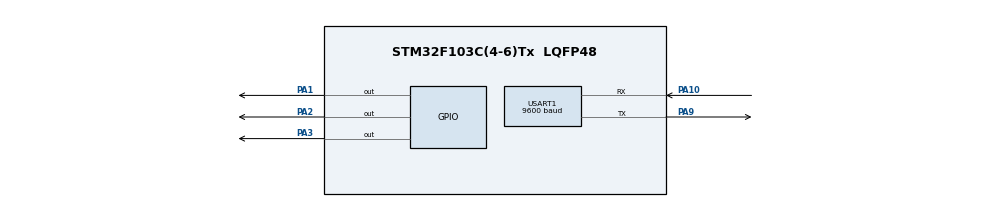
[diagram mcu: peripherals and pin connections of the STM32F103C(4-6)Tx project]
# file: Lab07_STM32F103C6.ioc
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Mcu.Family=STM32F1
Mcu.Name=STM32F103C(4-6)Tx
Mcu.Package=LQFP48
NVIC.PriorityGroup=NVIC_PRIORITYGROUP_4
NVIC.USART1_IRQn=true\:0\:0\:false\:false\:true\:true\:true
PA1.Signal=GPIO_Output
PA10.Mode=Asynchronous
PA10.Signal=USART1_RX
PA2.Signal=GPIO_Output
PA3.Signal=GPIO_Output
PA9.Mode=Asynchronous
PA9.Signal=USART1_TX
ProjectManager.HeapSize=0x200
ProjectManager.StackSize=0x400
ProjectManager.TargetToolchain=STM32CubeIDE
RCC.APB1Freq_Value=8000000
RCC.APB2Freq_Value=8000000
USART1.BaudRate=9600
USART1.VirtualMode=VM_ASYNC
VP_SYS_VS_ND.Mode=No_Debug
board=custom

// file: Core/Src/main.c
/* USER CODE BEGIN Header */
/**
  ******************************************************************************
  * @file           : main.c
  * @brief          : Main program body
  ******************************************************************************
  * @attention
  *
  * <h2><center>&copy; Copyright (c) 2021 STMicroelectronics.
  * All rights reserved.</center></h2>
  *
  * This software component is licensed by ST under BSD 3-Clause license,
  * the "License"; You may not use this file except in compliance with the
  * License. You may obtain a copy of the License at:
  *                        opensource.org/licenses/BSD-3-Clause
  *
  ******************************************************************************
  */
/* USER CODE END Header */
#include "main.h"

/* USER CODE BEGIN Includes */
#include "string.h"
#include "stdio.h"
/* USER CODE END Includes */

UART_HandleTypeDef huart1;

void SystemClock_Config(void);
static void MX_GPIO_Init(void);
static void MX_USART1_UART_Init(void);

int main(void)
{

  /* MCU Configuration--------------------------------------------------------*/

  /* Reset of all peripherals, Initializes the Flash interface and the Systick. */
  HAL_Init();

  /* Configure the system clock */
  SystemClock_Config();

  /* Initialize all configured peripherals */
  MX_GPIO_Init();
  MX_USART1_UART_Init();
  /* USER CODE BEGIN 2 */
  uint32_t SIZE_ONE_PAGE = 0x400; // розмір сторінки 1 Кб, або 1024 байта
  uint32_t ADDR_FLASH_PAGE = 0x08000000 + 31 * SIZE_ONE_PAGE; // адреса 64 сторінки 0x0800FC00

  size_t SIZE_uint32 = sizeof (uint32_t); // 32 біта це 4 байти
  // в одну сторінку розміром 1Кб можна записати 1024/4=256 змінних розміром 4 байти

  uint32_t val_000 = 0x01234567;
  uint32_t val_004 = 0x89ABCDEF;
  uint32_t val_00C = 0x01020304;
  uint32_t val_3FC = 0x0000FFFF; //1024-4=1020 == 0x400-0x004=0x3FC
  char word[9] = {'S','K','O','P','I','N','S','E','V'};

  HAL_UART_Transmit(&huart1, (uint8_t*)"\n\n\r!!!Erase page 64!!!\n\r", sizeof ("\n\n\r!!!Erase page 64!!!\n\r"), 100);
  Flash_Erase_One_Page (ADDR_FLASH_PAGE); // очищення 64 сторінки

  HAL_UART_Transmit (&huart1, (uint8_t*)"\n!!!Write!!!\n\r", sizeof ("\n!!!Write!!!\n\r"), 100);
  // запис значень на початку і в кінці 127 сторінки
  Flash_Write_uint32 (ADDR_FLASH_PAGE + 0 * SIZE_uint32, val_000);
  Flash_Write_uint32 (ADDR_FLASH_PAGE + 1 * SIZE_uint32, val_004);
  Flash_Write_uint32 (ADDR_FLASH_PAGE + 3 * SIZE_uint32, val_00C);
  Flash_Write_uint32 (ADDR_FLASH_PAGE + 255 * SIZE_uint32, val_3FC);

  HAL_UART_Transmit (&huart1, (uint8_t*)"\n!!!Erase page 63!!!\n\r", sizeof ("\n!!!Erase page 63!!!\n\r"), 100);
  Flash_Erase_One_Page (ADDR_FLASH_PAGE - SIZE_ONE_PAGE); // очищення 63 сторінки

  HAL_UART_Transmit (&huart1, (uint8_t*)"\n!!!Write!!!\n\r", sizeof ("\n!!!Write!!!\n\r"), 100);
  // запис значень на початку і в кінці 126 сторінки

  Flash_Write_uint32 (ADDR_FLASH_PAGE - SIZE_ONE_PAGE + 0x004, val_004);
  Flash_Write_uint32 (ADDR_FLASH_PAGE - SIZE_ONE_PAGE + 0x00C, val_00C);
  Flash_Write_uint32 (ADDR_FLASH_PAGE - SIZE_ONE_PAGE + 0x3FC, val_3FC);

  HAL_UART_Transmit (&huart1, (uint8_t*)"\n!!!Read!!!\n\r", sizeof ("\n!!!Read!!!\n\r"), 100);

  HAL_UART_Transmit (&huart1, (uint8_t*)"\n!!!Write64!!!\n\r", sizeof ("\n!!!Write64!!!\n\r"), 100);
  Flash_Write_uint64 (ADDR_FLASH_PAGE - SIZE_ONE_PAGE + 0x000, 1844674407370955161);
  Flash_Write_uint8 (0x08007800, word);
  Flash_Read_uint8 (0x08007800, word);
  HAL_Delay (4000);
  /* USER CODE END 2 */

  /* Infinite loop */
  while (1)
  {

  }
}

void SystemClock_Config(void)
{
  RCC_OscInitTypeDef RCC_OscInitStruct = {0};
  RCC_ClkInitTypeDef RCC_ClkInitStruct = {0};

  /** Initializes the RCC Oscillators according to the specified parameters
  * in the RCC_OscInitTypeDef structure.
  */
  RCC_OscInitStruct.OscillatorType = RCC_OSCILLATORTYPE_HSI;
  RCC_OscInitStruct.HSIState = RCC_HSI_ON;
  RCC_OscInitStruct.HSICalibrationValue = RCC_HSICALIBRATION_DEFAULT;
  RCC_OscInitStruct.PLL.PLLState = RCC_PLL_NONE;
  if (HAL_RCC_OscConfig(&RCC_OscInitStruct) != HAL_OK)
  {
    Error_Handler();
  }
  /** Initializes the CPU, AHB and APB buses clocks
  */
  RCC_ClkInitStruct.ClockType = RCC_CLOCKTYPE_HCLK|RCC_CLOCKTYPE_SYSCLK
                              |RCC_CLOCKTYPE_PCLK1|RCC_CLOCKTYPE_PCLK2;
  RCC_ClkInitStruct.SYSCLKSource = RCC_SYSCLKSOURCE_HSI;
  RCC_ClkInitStruct.AHBCLKDivider = RCC_SYSCLK_DIV1;
  RCC_ClkInitStruct.APB1CLKDivider = RCC_HCLK_DIV1;
  RCC_ClkInitStruct.APB2CLKDivider = RCC_HCLK_DIV1;

  if (HAL_RCC_ClockConfig(&RCC_ClkInitStruct, FLASH_LATENCY_0) != HAL_OK)
  {
    Error_Handler();
  }
}

static void MX_USART1_UART_Init(void)
{

  huart1.Instance = USART1;
  huart1.Init.BaudRate = 9600;
  huart1.Init.WordLength = UART_WORDLENGTH_8B;
  huart1.Init.StopBits = UART_STOPBITS_1;
  huart1.Init.Parity = UART_PARITY_NONE;
  huart1.Init.Mode = UART_MODE_TX_RX;
  huart1.Init.HwFlowCtl = UART_HWCONTROL_NONE;
  huart1.Init.OverSampling = UART_OVERSAMPLING_16;
  if (HAL_UART_Init(&huart1) != HAL_OK)
  {
    Error_Handler();
  }

}

static void MX_GPIO_Init(void)
{

  /* GPIO Ports Clock Enable */
  __HAL_RCC_GPIOA_CLK_ENABLE();

}

/* USER CODE BEGIN 4 */
/////////////Функції запису та читання для 1 байтних масивів/////////////
void Flash_Write_uint8(uint32_t MYADDR, char val[])
{
	char str[64] = { 0, };
	for (int i = 0; i <= strlen (val); i++)
	{
		HAL_FLASH_Unlock(); // розблокування Flash-пам'яті

		if (HAL_FLASH_Program (0x0U, MYADDR, val[i]) != HAL_OK)
		{
			uint32_t er = HAL_FLASH_GetError();
			snprintf (str, 64, "Error Flash_Write(): %lu\n\r", er);
			HAL_UART_Transmit (&huart1, (uint8_t*) str, strlen(str), 100);
			while (1)
			{
			}
		}
		MYADDR+=0x001;

		HAL_FLASH_Lock (); // заблокування Flash-пам'яті
	}
	snprintf (str, 64, "Write phrase bits %s to address 0x%08lX OK\n\r", val, MYADDR);
	HAL_UART_Transmit (&huart1, (uint8_t*) str, strlen (str), 100);
}

void Flash_Read_uint8 (uint32_t MYADDR, char val[])
{
	char str[64] = { 0, };

	for (int i = 0; i <= strlen(val); i++){
	/////////////// Ч�?ТАЄМО Flash-пам'ять ///////////////////
	uint8_t dig8 = *(uint8_t*) MYADDR; // читання числа за його адресою
	str[i] = dig8;
	MYADDR+=0x001;
	}
	HAL_UART_Transmit (&huart1, (uint8_t*)"\n!!!Read phrase!!!\n\r", sizeof ("\n!!!Read phrase!!!\n\r"), 100);
	HAL_UART_Transmit (&huart1, (uint8_t*) str, strlen (str), 100);
}

/////////////Функції запису для 16 біт/////////////

void Flash_Write_uint16 (uint32_t MYADDR, uint16_t val)
{
	char str[64] = { 0, };

	HAL_FLASH_Unlock(); // розблокування Flash-пам'яті

	if (HAL_FLASH_Program (FLASH_TYPEPROGRAM_HALFWORD, MYADDR, val) != HAL_OK)
	{
		uint32_t er = HAL_FLASH_GetError();
		snprintf (str, 64, "Error Flash_Write(): %lu\n\r", er);
		HAL_UART_Transmit (&huart1, (uint8_t*) str, strlen (str), 100);
		while (1)
		{
		}
	}

	snprintf (str, 64, "Write 16 bits (Hex: 0x%08X) to address 0x%08lX OK\n\r", val, MYADDR);
	HAL_UART_Transmit (&huart1, (uint8_t*) str, strlen (str), 100);

	HAL_FLASH_Lock (); // заблокування Flash-пам'яті
}

/////////////Функції запису читання та стирання сторінки для 32 біт/////////////

void Flash_Erase_One_Page(uint32_t MYADDR)
{
	FLASH_EraseInitTypeDef EraseInitStruct; // структура для очищення флеша

	EraseInitStruct.TypeErase = FLASH_TYPEERASE_PAGES; // очищення сторінками, FLASH_TYPEERASE_MASSERASE - очищення всього флеша
	EraseInitStruct.PageAddress = MYADDR; // адреса сторінки;
	EraseInitStruct.NbPages = 1;          // кількість сторінок для очищення

	uint32_t page_error = 0; // змінна в яку запишеться адреса сторінки, при невдалому очищенні

	char str[64] = { 0, };

	HAL_FLASH_Unlock (); // розблокування Flash-пам'яті

	if (HAL_FLASHEx_Erase (&EraseInitStruct, &page_error) != HAL_OK)
	{
		// сталась помилка при очищенні сторінки
		uint32_t er = HAL_FLASH_GetError ();
		snprintf (str, 64, "Error Flash_Erase(): %lu\n\r", er);
		HAL_UART_Transmit (&huart1, (uint8_t*) str, strlen (str), 100);
		while (1)
		{
		}
	}

	// очищення сторінки виконане успішно
	snprintf (str, 64, "Erase Flash from address 0x%08lX to address 0x%08lX OK\n\r", MYADDR, MYADDR+0x400-1);
	HAL_UART_Transmit (&huart1, (uint8_t*) str, strlen(str), 100);

	HAL_FLASH_Lock (); // заблокування Flash-пам'яті
}

void Flash_Write_uint32(uint32_t MYADDR, uint32_t val)
{
	char str[64] = { 0, };

	HAL_FLASH_Unlock (); // розблокування Flash-пам'яті

	if (HAL_FLASH_Program (FLASH_TYPEPROGRAM_WORD, MYADDR, val) != HAL_OK)
	{
		uint32_t er = HAL_FLASH_GetError();
		snprintf (str, 64, "Error Flash_Write(): %lu\n\r", er);
		HAL_UART_Transmit (&huart1, (uint8_t*) str, strlen (str), 100);
		while (1)
		{
		}
	}

	snprintf (str, 64, "Write 32 bits (Hex: 0x%08lX) to address 0x%08lX OK\n\r", val, MYADDR);
	HAL_UART_Transmit (&huart1, (uint8_t*) str, strlen(str), 100);

	HAL_FLASH_Lock(); // заблокування Flash-пам'яті
}

uint32_t Flash_Read_uint32(uint32_t MYADDR)
{
	char str[64] = { 0, };

	uint32_t dig32 = *(uint32_t*) MYADDR; // читання числа за його адресою

	snprintf (str, 64, "Read 32 bits (Dec: %lu \tHex: 0x%08lX)", dig32, dig32);
	HAL_UART_Transmit (&huart1, (uint8_t*) str, strlen(str), 100);
	snprintf (str, 64, " from address 0x%08lX \n\r", MYADDR);
	HAL_UART_Transmit (&huart1, (uint8_t*) str, strlen(str), 100);

	return dig32;
}

	/////////////Функції запису для 64біт/////////////

void Flash_Write_uint64(uint32_t MYADDR, uint64_t val)
{
	char str[64] = { 0, };

	HAL_FLASH_Unlock(); // розблокування Flash-пам'яті

	if (HAL_FLASH_Program (FLASH_TYPEPROGRAM_DOUBLEWORD, MYADDR, val) != HAL_OK)
	{
		uint32_t er = HAL_FLASH_GetError();
		snprintf (str, 64, "Error Flash_Write(): %lu\n\r", er);
		HAL_UART_Transmit (&huart1, (uint8_t*) str, strlen (str), 100);
		while (1)
		{
		}
	}

	snprintf (str, 64, "Write 64 bits (Hex: 0x%08llX) to address 0x%08lX OK\n\r", val, MYADDR);
	HAL_UART_Transmit (&huart1, (uint8_t*) str, strlen (str), 100);

	HAL_FLASH_Lock(); // заблокування Flash-пам'яті
}

/* USER CODE END 4 */

void Error_Handler(void)
{
  __disable_irq();
  while (1)
  {
  }
}
